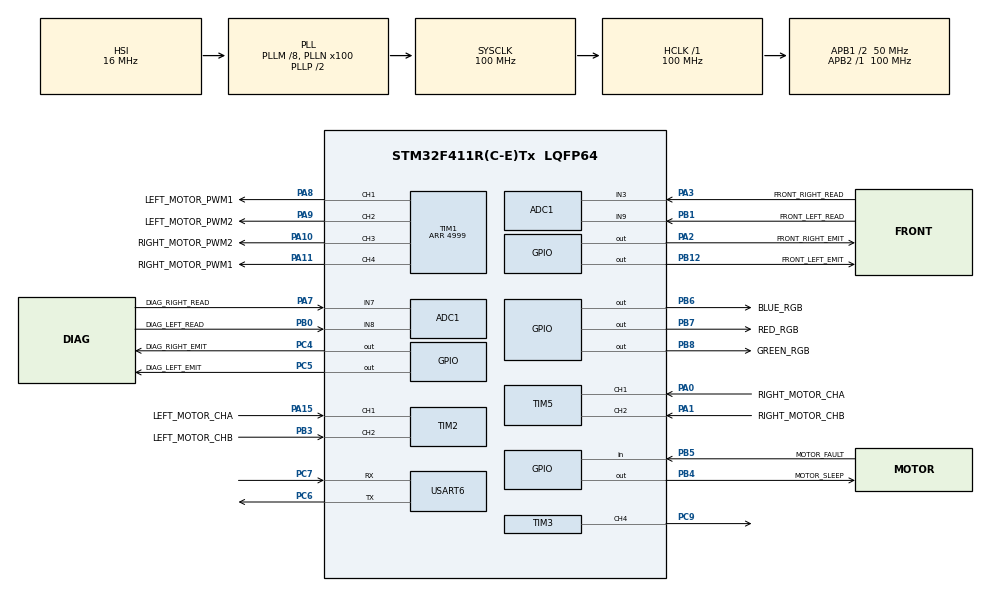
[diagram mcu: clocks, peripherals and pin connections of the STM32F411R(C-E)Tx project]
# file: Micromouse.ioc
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ADC1.Channel-0\#ChannelRegularConversion=ADC_CHANNEL_9
ADC1.Channel-1\#ChannelRegularConversion=ADC_CHANNEL_8
ADC1.Channel-2\#ChannelRegularConversion=ADC_CHANNEL_7
ADC1.Channel-3\#ChannelRegularConversion=ADC_CHANNEL_3
ADC1.ContinuousConvMode=ENABLE
ADC1.NbrOfConversion=4
ADC1.NbrOfConversionFlag=1
ADC1.Rank-0\#ChannelRegularConversion=1
ADC1.Rank-1\#ChannelRegularConversion=2
ADC1.Rank-2\#ChannelRegularConversion=3
ADC1.Rank-3\#ChannelRegularConversion=4
ADC1.SamplingTime-0\#ChannelRegularConversion=ADC_SAMPLETIME_480CYCLES
ADC1.SamplingTime-1\#ChannelRegularConversion=ADC_SAMPLETIME_480CYCLES
ADC1.SamplingTime-2\#ChannelRegularConversion=ADC_SAMPLETIME_480CYCLES
ADC1.SamplingTime-3\#ChannelRegularConversion=ADC_SAMPLETIME_480CYCLES
ADC1.ScanConvMode=ENABLE
ADC1.master=1
Dma.ADC1.0.Direction=DMA_PERIPH_TO_MEMORY
Dma.ADC1.0.FIFOMode=DMA_FIFOMODE_DISABLE
Dma.ADC1.0.Instance=DMA2_Stream0
Dma.ADC1.0.MemDataAlignment=DMA_MDATAALIGN_HALFWORD
Dma.ADC1.0.MemInc=DMA_MINC_ENABLE
Dma.ADC1.0.Mode=DMA_CIRCULAR
Dma.ADC1.0.PeriphDataAlignment=DMA_PDATAALIGN_HALFWORD
Dma.ADC1.0.PeriphInc=DMA_PINC_DISABLE
Dma.ADC1.0.Priority=DMA_PRIORITY_LOW
Dma.Request0=ADC1
Mcu.Family=STM32F4
Mcu.Name=STM32F411R(C-E)Tx
Mcu.Package=LQFP64
NVIC.ADC_IRQn=true\:1\:0\:true\:false\:true\:true\:true\:true
NVIC.DMA2_Stream0_IRQn=true\:0\:0\:false\:false\:true\:false\:true\:true
NVIC.PriorityGroup=NVIC_PRIORITYGROUP_4
PA0-WKUP.GPIO_Label=RIGHT_MOTOR_CHA
PA0-WKUP.Signal=S_TIM5_CH1
PA1.GPIO_Label=RIGHT_MOTOR_CHB
PA1.Signal=S_TIM5_CH2
PA10.GPIO_Label=RIGHT_MOTOR_PWM2
PA10.Signal=S_TIM1_CH3
PA11.GPIO_Label=RIGHT_MOTOR_PWM1
PA11.Signal=S_TIM1_CH4
PA13.Mode=Serial_Wire
PA13.Signal=SYS_JTMS-SWDIO
PA14.Mode=Serial_Wire
PA14.Signal=SYS_JTCK-SWCLK
PA15.GPIO_Label=LEFT_MOTOR_CHA
PA15.Signal=S_TIM2_CH1_ETR
PA2.GPIO_Label=FRONT_RIGHT_EMIT
PA2.Signal=GPIO_Output
PA3.GPIO_Label=FRONT_RIGHT_READ
PA3.Signal=ADCx_IN3
PA7.GPIO_Label=DIAG_RIGHT_READ
PA7.Signal=ADCx_IN7
PA8.GPIO_Label=LEFT_MOTOR_PWM1
PA8.Signal=S_TIM1_CH1
PA9.GPIO_Label=LEFT_MOTOR_PWM2
PA9.Signal=S_TIM1_CH2
PB0.GPIO_Label=DIAG_LEFT_READ
PB0.Signal=ADCx_IN8
PB1.GPIO_Label=FRONT_LEFT_READ
PB1.Signal=ADCx_IN9
PB12.GPIO_Label=FRONT_LEFT_EMIT
PB12.PinState=GPIO_PIN_SET
PB12.Signal=GPIO_Output
PB3.GPIO_Label=LEFT_MOTOR_CHB
PB3.Signal=S_TIM2_CH2
PB4.GPIO_Label=MOTOR_SLEEP
PB4.GPIO_PuPd=GPIO_NOPULL
PB4.PinState=GPIO_PIN_SET
PB4.Signal=GPIO_Output
PB5.GPIO_Label=MOTOR_FAULT
PB5.GPIO_PuPd=GPIO_PULLUP
PB5.Signal=GPIO_Input
PB6.GPIO_Label=BLUE_RGB
PB6.PinState=GPIO_PIN_SET
PB6.Signal=GPIO_Output
PB7.GPIO_Label=RED_RGB
PB7.PinState=GPIO_PIN_SET
PB7.Signal=GPIO_Output
PB8.GPIO_Label=GREEN_RGB
PB8.PinState=GPIO_PIN_SET
PB8.Signal=GPIO_Output
PC4.GPIO_Label=DIAG_RIGHT_EMIT
PC4.Signal=GPIO_Output
PC5.GPIO_Label=DIAG_LEFT_EMIT
PC5.Signal=GPIO_Output
PC6.Mode=Asynchronous
PC6.Signal=USART6_TX
PC7.Mode=Asynchronous
PC7.Signal=USART6_RX
PC9.Signal=S_TIM3_CH4
PH0\ -\ OSC_IN.Mode=HSE-External-Oscillator
PH0\ -\ OSC_IN.Signal=RCC_OSC_IN
PH1\ -\ OSC_OUT.Mode=HSE-External-Oscillator
PH1\ -\ OSC_OUT.Signal=RCC_OSC_OUT
ProjectManager.HeapSize=0x200
ProjectManager.StackSize=0x400
ProjectManager.TargetToolchain=CMake
RCC.48MHZClocksFreq_Value=50000000
RCC.AHBFreq_Value=100000000
RCC.APB1CLKDivider=RCC_HCLK_DIV2
RCC.APB1Freq_Value=50000000
RCC.APB1TimFreq_Value=100000000
RCC.APB2Freq_Value=100000000
RCC.APB2TimFreq_Value=100000000
RCC.CortexFreq_Value=100000000
RCC.HCLKFreq_Value=100000000
RCC.HSE_VALUE=8000000
RCC.HSI_VALUE=16000000
RCC.LSE_VALUE=32768
RCC.PLLM=8
RCC.PLLN=100
RCC.SYSCLKFreq_VALUE=100000000
RCC.SYSCLKSource=RCC_SYSCLKSOURCE_PLLCLK
RCC.VCOOutputFreq_Value=200000000
SH.ADCx_IN3.0=ADC1_IN3,IN3
SH.ADCx_IN7.0=ADC1_IN7,IN7
SH.ADCx_IN8.0=ADC1_IN8,IN8
SH.ADCx_IN9.0=ADC1_IN9,IN9
SH.S_TIM1_CH1.0=TIM1_CH1,PWM Generation1 CH1
SH.S_TIM1_CH2.0=TIM1_CH2,PWM Generation2 CH2
SH.S_TIM1_CH3.0=TIM1_CH3,PWM Generation3 CH3
SH.S_TIM1_CH4.0=TIM1_CH4,PWM Generation4 CH4
SH.S_TIM2_CH1_ETR.0=TIM2_CH1,Encoder_Interface
SH.S_TIM2_CH2.0=TIM2_CH2,Encoder_Interface
SH.S_TIM3_CH4.0=TIM3_CH4,PWM Generation4 CH4
SH.S_TIM5_CH1.0=TIM5_CH1,Encoder_Interface
SH.S_TIM5_CH2.0=TIM5_CH2,Encoder_Interface
TIM1.AutoReloadPreload=TIM_AUTORELOAD_PRELOAD_ENABLE
TIM1.Channel-PWM\ Generation1\ CH1=TIM_CHANNEL_1
TIM1.Channel-PWM\ Generation2\ CH2=TIM_CHANNEL_2
TIM1.Channel-PWM\ Generation3\ CH3=TIM_CHANNEL_3
TIM1.Channel-PWM\ Generation4\ CH4=TIM_CHANNEL_4
TIM1.Period=4999
TIM3.AutoReloadPreload=TIM_AUTORELOAD_PRELOAD_ENABLE
TIM3.Channel-PWM\ Generation4\ CH4=TIM_CHANNEL_4
TIM3.Period=4999
TIM3.Prescaler=4
USART6.VirtualMode=VM_ASYNC
VP_TIM1_VS_ClockSourceINT.Mode=Internal
board=custom

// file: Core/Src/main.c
/* USER CODE BEGIN Header */
/**
  ******************************************************************************
  * @file           : main.c
  * @brief          : Main program body
  ******************************************************************************
  * @attention
  *
  * Copyright (c) 2025 STMicroelectronics.
  * All rights reserved.
  *
  * This software is licensed under terms that can be found in the LICENSE file
  * in the root directory of this software component.
  * If no LICENSE file comes with this software, it is provided AS-IS.
  *
  ******************************************************************************
  */
/* USER CODE END Header */
#include "main.h"

/* USER CODE BEGIN Includes */

//System Header
#include <stdio.h>
#include <stdint.h>
#include <string.h>

//STM32
#include "stm32f4xx_hal.h"

//Micromouse Driver
#include "indicator.h"
#include "motor.h"

/* USER CODE END Includes */

ADC_HandleTypeDef hadc1;
DMA_HandleTypeDef hdma_adc1;

TIM_HandleTypeDef htim1;
TIM_HandleTypeDef htim2;
TIM_HandleTypeDef htim3;
TIM_HandleTypeDef htim5;

UART_HandleTypeDef huart6;

/* USER CODE BEGIN PV */
uint8_t tx_buffer[35] = "If you see this, It's working\n\r";

uint16_t Front_Left_Value = 0;
uint16_t Diag_Left_Value = 0;
uint16_t Diag_Right_Value = 0;
uint16_t Front_Right_Value = 0;
uint16_t RawValue[4];
char msg[20];

/* USER CODE END PV */

void SystemClock_Config(void);
static void MX_GPIO_Init(void);
static void MX_DMA_Init(void);
static void MX_TIM1_Init(void);
static void MX_TIM2_Init(void);
static void MX_TIM5_Init(void);
static void MX_ADC1_Init(void);
static void MX_USART6_UART_Init(void);
static void MX_TIM3_Init(void);

/* USER CODE BEGIN 0 */

uint8_t ConversionStatus = 0;
void HAL_ADC_ConvCpltCallback(ADC_HandleTypeDef* hadc)
  {
    ConversionStatus = 1;
  }
/* USER CODE END 0 */

int main(void)
{

  /* USER CODE BEGIN 1 */
   HAL_GPIO_WritePin(GPIOB, GPIO_PIN_12, GPIO_PIN_RESET); //Front Left Emit
   HAL_GPIO_WritePin(GPIOC, GPIO_PIN_5, GPIO_PIN_RESET); //Diag Left Emit
   HAL_GPIO_WritePin(GPIOC, GPIO_PIN_4, GPIO_PIN_RESET); //Diag Right Emit
   HAL_GPIO_WritePin(GPIOA, GPIO_PIN_2, GPIO_PIN_RESET); //Front Right Emit

  /* USER CODE END 1 */

  /* MCU Configuration--------------------------------------------------------*/

  /* Reset of all peripherals, Initializes the Flash interface and the Systick. */
  HAL_Init();

  /* Configure the system clock */
  SystemClock_Config();

  /* Initialize all configured peripherals */
  MX_GPIO_Init();
  MX_DMA_Init();
  MX_TIM1_Init();
  MX_TIM2_Init();
  MX_TIM5_Init();
  MX_ADC1_Init();
  MX_USART6_UART_Init();
  MX_TIM3_Init();
  /* USER CODE BEGIN 2 */
  MotorInit(); //Initialized Motor Control
  RGB_startup(); // Initialized LED Indicator
  HAL_ADC_Start_DMA(&hadc1, (uint32_t*) RawValue, 4); //Have to start at uint32_t *, DMA point is 32bit

  HAL_Delay(1000);
  LeftMotorPWM(0,0);
  RightMotorPWM(0,0);
  /* USER CODE END 2 */

  /* Infinite loop */
  while (1)
  {

    /* USER CODE BEGIN 3 */
    while(!ConversionStatus); //Conversion status check, maybe use HAL_MAX_DELAY

    for (uint8_t i = 0; i < hadc1.Init.NbrOfConversion; i++)
    {
      Front_Left_Value = (uint16_t) RawValue[0];
      Diag_Left_Value = (uint16_t) RawValue[1];
      Diag_Right_Value = (uint16_t) RawValue[2];
      Front_Right_Value = (uint16_t) RawValue[3];
    }

    //Front left
    sprintf(msg, "FL: %hu \r\t\t", Front_Left_Value);
    HAL_UART_Transmit(&huart6, (uint8_t *)msg, strlen(msg), HAL_MAX_DELAY);

    //Diagonal left
    sprintf(msg, "DL: %hu \r\t\t", Diag_Left_Value);
    HAL_UART_Transmit(&huart6, (uint8_t *)msg, strlen(msg), HAL_MAX_DELAY);

    //Diagonal right
    sprintf(msg, "DR: %hu \r\t\t", Diag_Right_Value);
    HAL_UART_Transmit(&huart6, (uint8_t *)msg, strlen(msg), HAL_MAX_DELAY);

    //Front right
    sprintf(msg, "FR: %hu \r\n", Front_Right_Value);
    HAL_UART_Transmit(&huart6, (uint8_t *)msg, strlen(msg), HAL_MAX_DELAY);

  }
  /* USER CODE END 3 */
}

void SystemClock_Config(void)
{
  RCC_OscInitTypeDef RCC_OscInitStruct = {0};
  RCC_ClkInitTypeDef RCC_ClkInitStruct = {0};

  /** Configure the main internal regulator output voltage
  */
  __HAL_RCC_PWR_CLK_ENABLE();
  __HAL_PWR_VOLTAGESCALING_CONFIG(PWR_REGULATOR_VOLTAGE_SCALE1);

  /** Initializes the RCC Oscillators according to the specified parameters
  * in the RCC_OscInitTypeDef structure.
  */
  RCC_OscInitStruct.OscillatorType = RCC_OSCILLATORTYPE_HSI;
  RCC_OscInitStruct.HSIState = RCC_HSI_ON;
  RCC_OscInitStruct.HSICalibrationValue = RCC_HSICALIBRATION_DEFAULT;
  RCC_OscInitStruct.PLL.PLLState = RCC_PLL_ON;
  RCC_OscInitStruct.PLL.PLLSource = RCC_PLLSOURCE_HSI;
  RCC_OscInitStruct.PLL.PLLM = 8;
  RCC_OscInitStruct.PLL.PLLN = 100;
  RCC_OscInitStruct.PLL.PLLP = RCC_PLLP_DIV2;
  RCC_OscInitStruct.PLL.PLLQ = 4;
  if (HAL_RCC_OscConfig(&RCC_OscInitStruct) != HAL_OK)
  {
    Error_Handler();
  }

  /** Initializes the CPU, AHB and APB buses clocks
  */
  RCC_ClkInitStruct.ClockType = RCC_CLOCKTYPE_HCLK|RCC_CLOCKTYPE_SYSCLK
                              |RCC_CLOCKTYPE_PCLK1|RCC_CLOCKTYPE_PCLK2;
  RCC_ClkInitStruct.SYSCLKSource = RCC_SYSCLKSOURCE_PLLCLK;
  RCC_ClkInitStruct.AHBCLKDivider = RCC_SYSCLK_DIV1;
  RCC_ClkInitStruct.APB1CLKDivider = RCC_HCLK_DIV2;
  RCC_ClkInitStruct.APB2CLKDivider = RCC_HCLK_DIV1;

  if (HAL_RCC_ClockConfig(&RCC_ClkInitStruct, FLASH_LATENCY_3) != HAL_OK)
  {
    Error_Handler();
  }
}

static void MX_ADC1_Init(void)
{

  ADC_ChannelConfTypeDef sConfig = {0};

  /** Configure the global features of the ADC (Clock, Resolution, Data Alignment and number of conversion)
  */
  hadc1.Instance = ADC1;
  hadc1.Init.ClockPrescaler = ADC_CLOCK_SYNC_PCLK_DIV4;
  hadc1.Init.Resolution = ADC_RESOLUTION_12B;
  hadc1.Init.ScanConvMode = ENABLE;
  hadc1.Init.ContinuousConvMode = ENABLE;
  hadc1.Init.DiscontinuousConvMode = DISABLE;
  hadc1.Init.ExternalTrigConvEdge = ADC_EXTERNALTRIGCONVEDGE_NONE;
  hadc1.Init.ExternalTrigConv = ADC_SOFTWARE_START;
  hadc1.Init.DataAlign = ADC_DATAALIGN_RIGHT;
  hadc1.Init.NbrOfConversion = 4;
  hadc1.Init.DMAContinuousRequests = DISABLE;
  hadc1.Init.EOCSelection = ADC_EOC_SINGLE_CONV;
  if (HAL_ADC_Init(&hadc1) != HAL_OK)
  {
    Error_Handler();
  }

  /** Configure for the selected ADC regular channel its corresponding rank in the sequencer and its sample time.
  */
  sConfig.Channel = ADC_CHANNEL_9;
  sConfig.Rank = 1;
  sConfig.SamplingTime = ADC_SAMPLETIME_480CYCLES;
  if (HAL_ADC_ConfigChannel(&hadc1, &sConfig) != HAL_OK)
  {
    Error_Handler();
  }

  /** Configure for the selected ADC regular channel its corresponding rank in the sequencer and its sample time.
  */
  sConfig.Channel = ADC_CHANNEL_8;
  sConfig.Rank = 2;
  if (HAL_ADC_ConfigChannel(&hadc1, &sConfig) != HAL_OK)
  {
    Error_Handler();
  }

  /** Configure for the selected ADC regular channel its corresponding rank in the sequencer and its sample time.
  */
  sConfig.Channel = ADC_CHANNEL_7;
  sConfig.Rank = 3;
  if (HAL_ADC_ConfigChannel(&hadc1, &sConfig) != HAL_OK)
  {
    Error_Handler();
  }

  /** Configure for the selected ADC regular channel its corresponding rank in the sequencer and its sample time.
  */
  sConfig.Channel = ADC_CHANNEL_3;
  sConfig.Rank = 4;
  if (HAL_ADC_ConfigChannel(&hadc1, &sConfig) != HAL_OK)
  {
    Error_Handler();
  }

}

static void MX_TIM1_Init(void)
{

  TIM_ClockConfigTypeDef sClockSourceConfig = {0};
  TIM_MasterConfigTypeDef sMasterConfig = {0};
  TIM_OC_InitTypeDef sConfigOC = {0};
  TIM_BreakDeadTimeConfigTypeDef sBreakDeadTimeConfig = {0};

  htim1.Instance = TIM1;
  htim1.Init.Prescaler = 0;
  htim1.Init.CounterMode = TIM_COUNTERMODE_UP;
  htim1.Init.Period = 4999;
  htim1.Init.ClockDivision = TIM_CLOCKDIVISION_DIV1;
  htim1.Init.RepetitionCounter = 0;
  htim1.Init.AutoReloadPreload = TIM_AUTORELOAD_PRELOAD_ENABLE;
  if (HAL_TIM_Base_Init(&htim1) != HAL_OK)
  {
    Error_Handler();
  }
  sClockSourceConfig.ClockSource = TIM_CLOCKSOURCE_INTERNAL;
  if (HAL_TIM_ConfigClockSource(&htim1, &sClockSourceConfig) != HAL_OK)
  {
    Error_Handler();
  }
  if (HAL_TIM_PWM_Init(&htim1) != HAL_OK)
  {
    Error_Handler();
  }
  sMasterConfig.MasterOutputTrigger = TIM_TRGO_RESET;
  sMasterConfig.MasterSlaveMode = TIM_MASTERSLAVEMODE_DISABLE;
  if (HAL_TIMEx_MasterConfigSynchronization(&htim1, &sMasterConfig) != HAL_OK)
  {
    Error_Handler();
  }
  sConfigOC.OCMode = TIM_OCMODE_PWM1;
  sConfigOC.Pulse = 0;
  sConfigOC.OCPolarity = TIM_OCPOLARITY_HIGH;
  sConfigOC.OCNPolarity = TIM_OCNPOLARITY_HIGH;
  sConfigOC.OCFastMode = TIM_OCFAST_DISABLE;
  sConfigOC.OCIdleState = TIM_OCIDLESTATE_RESET;
  sConfigOC.OCNIdleState = TIM_OCNIDLESTATE_RESET;
  if (HAL_TIM_PWM_ConfigChannel(&htim1, &sConfigOC, TIM_CHANNEL_1) != HAL_OK)
  {
    Error_Handler();
  }
  if (HAL_TIM_PWM_ConfigChannel(&htim1, &sConfigOC, TIM_CHANNEL_2) != HAL_OK)
  {
    Error_Handler();
  }
  if (HAL_TIM_PWM_ConfigChannel(&htim1, &sConfigOC, TIM_CHANNEL_3) != HAL_OK)
  {
    Error_Handler();
  }
  if (HAL_TIM_PWM_ConfigChannel(&htim1, &sConfigOC, TIM_CHANNEL_4) != HAL_OK)
  {
    Error_Handler();
  }
  sBreakDeadTimeConfig.OffStateRunMode = TIM_OSSR_DISABLE;
  sBreakDeadTimeConfig.OffStateIDLEMode = TIM_OSSI_DISABLE;
  sBreakDeadTimeConfig.LockLevel = TIM_LOCKLEVEL_OFF;
  sBreakDeadTimeConfig.DeadTime = 0;
  sBreakDeadTimeConfig.BreakState = TIM_BREAK_DISABLE;
  sBreakDeadTimeConfig.BreakPolarity = TIM_BREAKPOLARITY_HIGH;
  sBreakDeadTimeConfig.AutomaticOutput = TIM_AUTOMATICOUTPUT_DISABLE;
  if (HAL_TIMEx_ConfigBreakDeadTime(&htim1, &sBreakDeadTimeConfig) != HAL_OK)
  {
    Error_Handler();
  }
  HAL_TIM_MspPostInit(&htim1);

}

static void MX_TIM2_Init(void)
{

  TIM_Encoder_InitTypeDef sConfig = {0};
  TIM_MasterConfigTypeDef sMasterConfig = {0};

  htim2.Instance = TIM2;
  htim2.Init.Prescaler = 0;
  htim2.Init.CounterMode = TIM_COUNTERMODE_UP;
  htim2.Init.Period = 4294967295;
  htim2.Init.ClockDivision = TIM_CLOCKDIVISION_DIV1;
  htim2.Init.AutoReloadPreload = TIM_AUTORELOAD_PRELOAD_DISABLE;
  sConfig.EncoderMode = TIM_ENCODERMODE_TI1;
  sConfig.IC1Polarity = TIM_ICPOLARITY_RISING;
  sConfig.IC1Selection = TIM_ICSELECTION_DIRECTTI;
  sConfig.IC1Prescaler = TIM_ICPSC_DIV1;
  sConfig.IC1Filter = 0;
  sConfig.IC2Polarity = TIM_ICPOLARITY_RISING;
  sConfig.IC2Selection = TIM_ICSELECTION_DIRECTTI;
  sConfig.IC2Prescaler = TIM_ICPSC_DIV1;
  sConfig.IC2Filter = 0;
  if (HAL_TIM_Encoder_Init(&htim2, &sConfig) != HAL_OK)
  {
    Error_Handler();
  }
  sMasterConfig.MasterOutputTrigger = TIM_TRGO_RESET;
  sMasterConfig.MasterSlaveMode = TIM_MASTERSLAVEMODE_DISABLE;
  if (HAL_TIMEx_MasterConfigSynchronization(&htim2, &sMasterConfig) != HAL_OK)
  {
    Error_Handler();
  }

}

static void MX_TIM3_Init(void)
{

  TIM_MasterConfigTypeDef sMasterConfig = {0};
  TIM_OC_InitTypeDef sConfigOC = {0};

  htim3.Instance = TIM3;
  htim3.Init.Prescaler = 4;
  htim3.Init.CounterMode = TIM_COUNTERMODE_UP;
  htim3.Init.Period = 4999;
  htim3.Init.ClockDivision = TIM_CLOCKDIVISION_DIV1;
  htim3.Init.AutoReloadPreload = TIM_AUTORELOAD_PRELOAD_ENABLE;
  if (HAL_TIM_PWM_Init(&htim3) != HAL_OK)
  {
    Error_Handler();
  }
  sMasterConfig.MasterOutputTrigger = TIM_TRGO_RESET;
  sMasterConfig.MasterSlaveMode = TIM_MASTERSLAVEMODE_DISABLE;
  if (HAL_TIMEx_MasterConfigSynchronization(&htim3, &sMasterConfig) != HAL_OK)
  {
    Error_Handler();
  }
  sConfigOC.OCMode = TIM_OCMODE_PWM1;
  sConfigOC.Pulse = 0;
  sConfigOC.OCPolarity = TIM_OCPOLARITY_HIGH;
  sConfigOC.OCFastMode = TIM_OCFAST_DISABLE;
  if (HAL_TIM_PWM_ConfigChannel(&htim3, &sConfigOC, TIM_CHANNEL_4) != HAL_OK)
  {
    Error_Handler();
  }
  HAL_TIM_MspPostInit(&htim3);

}

static void MX_TIM5_Init(void)
{

  TIM_Encoder_InitTypeDef sConfig = {0};
  TIM_MasterConfigTypeDef sMasterConfig = {0};

  htim5.Instance = TIM5;
  htim5.Init.Prescaler = 0;
  htim5.Init.CounterMode = TIM_COUNTERMODE_UP;
  htim5.Init.Period = 4294967295;
  htim5.Init.ClockDivision = TIM_CLOCKDIVISION_DIV1;
  htim5.Init.AutoReloadPreload = TIM_AUTORELOAD_PRELOAD_DISABLE;
  sConfig.EncoderMode = TIM_ENCODERMODE_TI1;
  sConfig.IC1Polarity = TIM_ICPOLARITY_RISING;
  sConfig.IC1Selection = TIM_ICSELECTION_DIRECTTI;
  sConfig.IC1Prescaler = TIM_ICPSC_DIV1;
  sConfig.IC1Filter = 0;
  sConfig.IC2Polarity = TIM_ICPOLARITY_RISING;
  sConfig.IC2Selection = TIM_ICSELECTION_DIRECTTI;
  sConfig.IC2Prescaler = TIM_ICPSC_DIV1;
  sConfig.IC2Filter = 0;
  if (HAL_TIM_Encoder_Init(&htim5, &sConfig) != HAL_OK)
  {
    Error_Handler();
  }
  sMasterConfig.MasterOutputTrigger = TIM_TRGO_RESET;
  sMasterConfig.MasterSlaveMode = TIM_MASTERSLAVEMODE_DISABLE;
  if (HAL_TIMEx_MasterConfigSynchronization(&htim5, &sMasterConfig) != HAL_OK)
  {
    Error_Handler();
  }

}

static void MX_USART6_UART_Init(void)
{

  huart6.Instance = USART6;
  huart6.Init.BaudRate = 115200;
  huart6.Init.WordLength = UART_WORDLENGTH_8B;
  huart6.Init.StopBits = UART_STOPBITS_1;
  huart6.Init.Parity = UART_PARITY_NONE;
  huart6.Init.Mode = UART_MODE_TX_RX;
  huart6.Init.HwFlowCtl = UART_HWCONTROL_NONE;
  huart6.Init.OverSampling = UART_OVERSAMPLING_16;
  if (HAL_UART_Init(&huart6) != HAL_OK)
  {
    Error_Handler();
  }

}

static void MX_DMA_Init(void)
{

  /* DMA controller clock enable */
  __HAL_RCC_DMA2_CLK_ENABLE();

  /* DMA interrupt init */
  /* DMA2_Stream0_IRQn interrupt configuration */
  HAL_NVIC_SetPriority(DMA2_Stream0_IRQn, 0, 0);
  HAL_NVIC_EnableIRQ(DMA2_Stream0_IRQn);

}

static void MX_GPIO_Init(void)
{
  GPIO_InitTypeDef GPIO_InitStruct = {0};

  /* GPIO Ports Clock Enable */
  __HAL_RCC_GPIOH_CLK_ENABLE();
  __HAL_RCC_GPIOA_CLK_ENABLE();
  __HAL_RCC_GPIOC_CLK_ENABLE();
  __HAL_RCC_GPIOB_CLK_ENABLE();

  /*Configure GPIO pin Output Level */
  HAL_GPIO_WritePin(FRONT_RIGHT_EMIT_GPIO_Port, FRONT_RIGHT_EMIT_Pin, GPIO_PIN_RESET);

  /*Configure GPIO pin Output Level */
  HAL_GPIO_WritePin(GPIOC, DIAG_RIGHT_EMIT_Pin|DIAG_LEFT_EMIT_Pin, GPIO_PIN_RESET);

  /*Configure GPIO pin Output Level */
  HAL_GPIO_WritePin(GPIOB, FRONT_LEFT_EMIT_Pin|MOTOR_SLEEP_Pin|BLUE_RGB_Pin|RED_RGB_Pin
                          |GREEN_RGB_Pin, GPIO_PIN_SET);

  /*Configure GPIO pin : FRONT_RIGHT_EMIT_Pin */
  GPIO_InitStruct.Pin = FRONT_RIGHT_EMIT_Pin;
  GPIO_InitStruct.Mode = GPIO_MODE_OUTPUT_PP;
  GPIO_InitStruct.Pull = GPIO_NOPULL;
  GPIO_InitStruct.Speed = GPIO_SPEED_FREQ_LOW;
  HAL_GPIO_Init(FRONT_RIGHT_EMIT_GPIO_Port, &GPIO_InitStruct);

  /*Configure GPIO pins : DIAG_RIGHT_EMIT_Pin DIAG_LEFT_EMIT_Pin */
  GPIO_InitStruct.Pin = DIAG_RIGHT_EMIT_Pin|DIAG_LEFT_EMIT_Pin;
  GPIO_InitStruct.Mode = GPIO_MODE_OUTPUT_PP;
  GPIO_InitStruct.Pull = GPIO_NOPULL;
  GPIO_InitStruct.Speed = GPIO_SPEED_FREQ_LOW;
  HAL_GPIO_Init(GPIOC, &GPIO_InitStruct);

  /*Configure GPIO pins : FRONT_LEFT_EMIT_Pin MOTOR_SLEEP_Pin BLUE_RGB_Pin RED_RGB_Pin
                           GREEN_RGB_Pin */
  GPIO_InitStruct.Pin = FRONT_LEFT_EMIT_Pin|MOTOR_SLEEP_Pin|BLUE_RGB_Pin|RED_RGB_Pin
                          |GREEN_RGB_Pin;
  GPIO_InitStruct.Mode = GPIO_MODE_OUTPUT_PP;
  GPIO_InitStruct.Pull = GPIO_NOPULL;
  GPIO_InitStruct.Speed = GPIO_SPEED_FREQ_LOW;
  HAL_GPIO_Init(GPIOB, &GPIO_InitStruct);

  /*Configure GPIO pin : MOTOR_FAULT_Pin */
  GPIO_InitStruct.Pin = MOTOR_FAULT_Pin;
  GPIO_InitStruct.Mode = GPIO_MODE_INPUT;
  GPIO_InitStruct.Pull = GPIO_PULLUP;
  HAL_GPIO_Init(MOTOR_FAULT_GPIO_Port, &GPIO_InitStruct);

}

void Error_Handler(void)
{
  __disable_irq();
  while (1)
  {
  }
}
